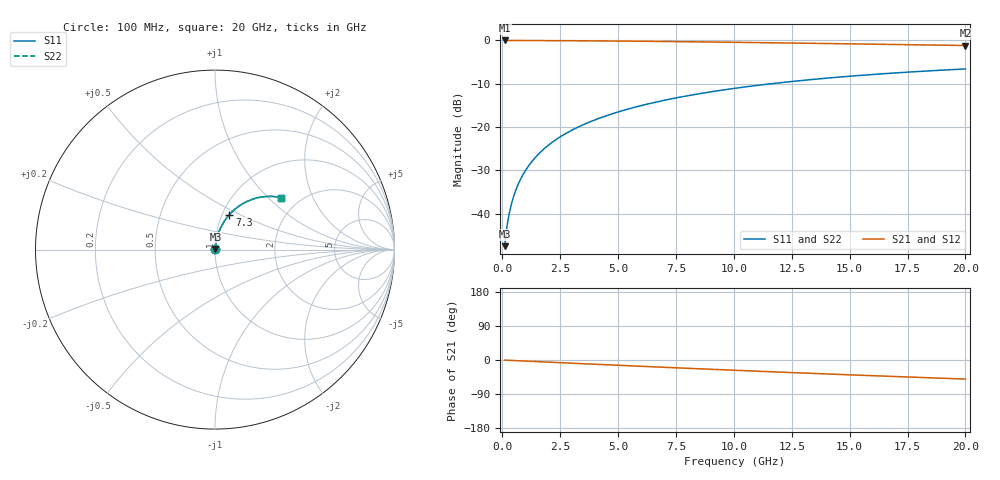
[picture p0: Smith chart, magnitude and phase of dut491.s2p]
! Touchstone file exported from HFSS 2026.1.0
!  File:  C:/ffzhzh/LocalFiles/Ansys_Project_Files/temp_train_TMRDL_491_1783006555_4048.aedt
!  Generated:  11:37:22 PM Jul  2, 2026
!  Design:  TMRDL
!  Project:  temp_train_TMRDL_491_1783006555_4048
! Variables:
!  h_bsmrdl = 2um
!  h_ox = 20um
!  h_rdl = 5um
!  h_sub = 80um
!  h_tmrdl = 5.88um
!  h_tsv = 80um
!  h_via = 3um
!  l_bsmrdl = 300um
!  l_sub = 1151.88um
!  l_tmrdl = 751.88um
!  m_sub = 200um
!  pitch = 50.99um
!  r_tsv = 6um
!  s_tmrdl = 10um
!  w_bsmrdl = 18um
!  w_sub = 500um
!  w_tmrdl = 18um
!  x_tsv_center1 = 760.88um
!  x_tsv_center2 = 1078.88um
!  x_tsv_center3 = 1848.76um
!  x_tsv_center4 = 2166.76um
!  x_tsv_center5 = 2936.64um
!  x_tsv_center6 = 3254.64um
# GHz S MA R 50.000000
! Terminal data exported
! Port[1] = TM_RDL1_1_T1
! Port[2] = TM_RDL1_1_T2
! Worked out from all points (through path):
!   200 points, 100 MHz to 20 GHz, reference 50 ohm
!   highest |S21| = -0.02 dB at 100 MHz (marker M1); lowest = -1.2 dB at 20 GHz (marker M2)
!   group delay of S21, straight-line fit = 6.99 ps
!   lowest |S11| = -47.5 dB at 100 MHz (marker M3), VSWR 1.01, Z = 50.3 + j0.331 ohm
!   |S11| at or under -10 dB: start of sweep to 11.63 GHz
!   |S22| runs from -47.5 to -6.6 dB; largest |S21 - S12| = 6.3e-15
!   S11 on the Smith chart (normalised r, x): 100 MHz: 1.01, +0.01; 7.3 GHz: 1.08, +0.44; 20 GHz: 1.61, +1.20
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0.1  0.00422 51.2  0.9974 -0.3  0.9974 -0.3  0.00422 51.2
! Gamma 0 0 0 0
! Port Impedance 50 0 50 0
0.2  0.007079 66.5  0.9972 -0.6  0.9972 -0.6  0.007079 66.5
0.3  0.01008 72.5  0.9971 -0.9  0.9971 -0.9  0.01008 72.5
0.4  0.01312 75.6  0.9969 -1.2  0.9969 -1.2  0.01312 75.6
0.5  0.01616 77.6  0.9968 -1.4  0.9968 -1.4  0.01616 77.6
0.7  0.02228 79.7  0.9966 -2.0  0.9966 -2.0  0.02228 79.7
0.8  0.02534 80.3  0.9964 -2.3  0.9964 -2.3  0.02534 80.3
1  0.03148 80.9  0.9961 -2.9  0.9961 -2.9  0.03148 80.9
1.4  0.04375 81.1  0.9954 -4.0  0.9954 -4.0  0.04375 81.1
1.7  0.05291 80.9  0.9947 -4.9  0.9947 -4.9  0.05291 80.9
2  0.06201 80.4  0.9939 -5.7  0.9939 -5.7  0.06201 80.4
2.7  0.08299 78.9  0.9916 -7.7  0.9916 -7.7  0.08299 78.9
3.5  0.1065 77.0  0.9886 -9.9  0.9886 -9.9  0.1065 77.0
4.2  0.1267 75.3  0.9855 -11.8  0.9855 -11.8  0.1267 75.3
5  0.1492 73.3  0.9817 -14.0  0.9817 -14.0  0.1492 73.3
6.8  0.1982 68.8  0.9717 -18.8  0.9717 -18.8  0.1982 68.8
7.3  0.2114 67.5  0.9687 -20.1  0.9687 -20.1  0.2114 67.6
8.6  0.2446 64.3  0.9602 -23.5  0.9602 -23.5  0.2446 64.3
10.1  0.2812 60.7  0.9497 -27.3  0.9497 -27.3  0.2812 60.7
13.4  0.3541 52.8  0.9243 -35.4  0.9243 -35.4  0.354 52.9
16.7  0.4163 45.4  0.8977 -43.1  0.8977 -43.1  0.4162 45.4
20  0.4679 38.3  0.8719 -50.3  0.8719 -50.3  0.4679 38.3
